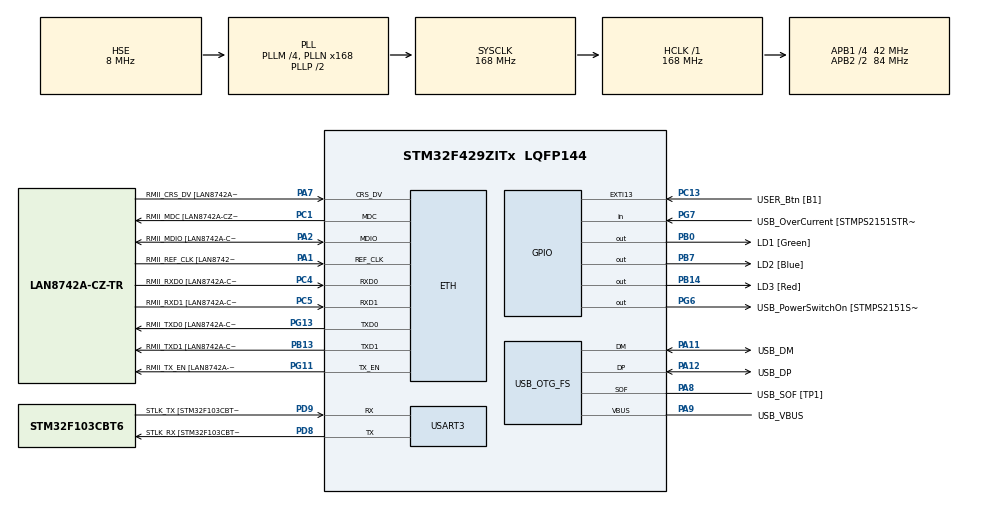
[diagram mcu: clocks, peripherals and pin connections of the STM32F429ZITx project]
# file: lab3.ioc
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Mcu.Family=STM32F4
FREERTOS.Queues01=myQueue01,32,1,1,Dynamic,NULL,NULL
RCC.CortexFreq_Value=168000000
PG6.Signal=GPIO_Output
PB14.GPIO_Label=LD3 [Red]
PG6.GPIO_Label=USB_PowerSwitchOn [STMPS2151STR_EN]
PA14.GPIO_Label=TCK
RCC.SYSCLKSourceVirtual=RCC_SYSCLKSOURCE_PLLCLK
PA11.Mode=Device_Only
PB0.GPIO_Label=LD1 [Green]
PC14/OSC32_IN.Mode=LSE-External-Oscillator
PC5.Mode=RMII
PC13.GPIO_Label=USER_Btn [B1]
PB13.GPIO_Label=RMII_TXD1 [LAN8742A-CZ-TR_TXD1]
PB13.Signal=ETH_TXD1
PG13.Signal=ETH_TXD0
PD9.Mode=Asynchronous
PG11.Signal=ETH_TX_EN
RCC.SYSCLKSource=RCC_SYSCLKSOURCE_PLLCLK
ProjectManager.StackSize=0x400
PA12.Signal=USB_OTG_FS_DP
ETH.PHY_Value=0
PH0/OSC_IN.Mode=HSE-External-Clock-Source
RCC.HCLKFreq_Value=168000000
RCC.APB2TimFreq_Value=168000000
PH1/OSC_OUT.Signal=RCC_OSC_OUT
PD8.Signal=USART3_TX
RCC.AHBFreq_Value=168000000
RCC.HSE_VALUE=8000000
RCC.PLLMUL=RCC_PLL_MUL9
PC4.GPIO_Label=RMII_RXD0 [LAN8742A-CZ-TR_RXD0]
PA14.Mode=Serial_Wire
VP_SYS_VS_tim1.Mode=TIM1
PA10.GPIO_Label=USB_ID
PB7.Signal=GPIO_Output
PA8.Signal=USB_OTG_FS_SOF
PG13.Mode=RMII
ETH.PHY_Name=LAN8742A_PHY_ADDRESS
VP_FREERTOS_VS_CMSIS_V1.Mode=CMSIS_V1
PH1/OSC_OUT.Mode=HSE-External-Clock-Source
PB7.GPIO_Label=LD2 [Blue]
Mcu.Package=LQFP144
NVIC.TimeBase=TIM1_UP_TIM10_IRQn
PC14/OSC32_IN.Signal=RCC_OSC32_IN
PA2.GPIO_Label=RMII_MDIO [LAN8742A-CZ-TR_MDIO]
NVIC.TimeBaseIP=TIM1
PA10.Signal=USB_OTG_FS_ID
USB_OTG_FS.VirtualMode=Device_Only
RCC.APB2CLKDivider=RCC_HCLK_DIV2
RCC.APB1TimFreq_Value=84000000
PG11.GPIO_Label=RMII_TX_EN [LAN8742A-CZ-TR_TXEN]
PC5.Signal=ETH_RXD1
PB13.Mode=RMII
PC4.Mode=RMII
ETH.AutoNegotiation=ETH_AUTONEGOTIATION_DISABLE
FREERTOS.Tasks01=mainTask,2,128,mainTask_f,Default,NULL,Dynamic,NULL,NULL;myTask02,0,128,StartTask02,Default,NULL,Dynamic,NULL,NULL;myTask03,0,128,StartTask03,Default,NULL,Dynamic,NULL,NULL
PA7.Mode=RMII
PG7.Signal=GPIO_Input
PD9.GPIO_Label=STLK_TX [STM32F103CBT6_PA2]
PC13.Signal=GPXTI13
PA9.GPIO_Label=USB_VBUS
PC4.Signal=ETH_RXD0
PA11.GPIO_Label=USB_DM
PD9.Signal=USART3_RX
RCC.APB1CLKDivider=RCC_HCLK_DIV4
PG13.GPIO_Label=RMII_TXD0 [LAN8742A-CZ-TR_TXD0]
ETH.PhyAddress=0
PA12.GPIO_Label=USB_DP
PD8.GPIO_Label=STLK_RX [STM32F103CBT6_PA3]
PA13.Signal=SYS_JTMS-SWDIO
PA9.Mode=Activate_VBUS
PA8.GPIO_Label=USB_SOF [TP1]
ProjectManager.TargetToolchain=STM32CubeIDE
PA9.Signal=USB_OTG_FS_VBUS
RCC.USBFreq_Value=48000000
PD8.Mode=Asynchronous
PA1.Signal=ETH_REF_CLK
PB14.Signal=GPIO_Output
board=NUCLEO-F429ZI
RCC.VCOOutputFreq_Value=336000000
PH0/OSC_IN.Signal=RCC_OSC_IN
RCC.APB2Freq_Value=84000000
PA1.Mode=RMII
RCC.PRESCALERUSB=RCC_USBCLKSOURCE_PLL_DIV1_5
PG7.GPIO_Label=USB_OverCurrent [STMPS2151STR_FAULT]
PA1.GPIO_Label=RMII_REF_CLK [LAN8742A-CZ-TR_REFCLK0]
PC1.GPIO_Label=RMII_MDC [LAN8742A-CZ-TR_MDC]
PA13.Mode=Serial_Wire
Mcu.Name=STM32F429ZITx
PA2.Signal=ETH_MDIO
PA13.GPIO_Label=TMS
RCC.APB2TimCLKDivider=2
RCC.48MHZClocksFreq_Value=48000000
RCC.SYSCLKFreq_VALUE=168000000
ETH.MediaInterface=ETH_MEDIA_INTERFACE_RMII
PA7.GPIO_Label=RMII_CRS_DV [LAN8742A-CZ-TR_CRS_DV]
PA12.Mode=Device_Only
PC5.GPIO_Label=RMII_RXD1 [LAN8742A-CZ-TR_RXD1]
USART3.VirtualMode=VM_ASYNC
PC15/OSC32_OUT.Mode=LSE-External-Oscillator
PG11.Mode=RMII
PA11.Signal=USB_OTG_FS_DM
PA14.Signal=SYS_JTCK-SWCLK
ProjectManager.HeapSize=0x200
NVIC.TIM1_UP_TIM10_IRQn=true\:0\:0\:false\:false\:true\:false\:false\:true
RCC.HSI_VALUE=16000000
PH0/OSC_IN.GPIO_Label=MCO [STM32F103CBT6_PA8]
RCC.PLLQ=7
NVIC.PriorityGroup=NVIC_PRIORITYGROUP_4
RCC.PLLM=4
RCC.PLLN=168
PA2.Mode=RMII
PC15/OSC32_OUT.Signal=RCC_OSC32_OUT
PA8.Mode=Activate_SOF_FS
RCC.APB1Freq_Value=42000000
PB0.Signal=GPIO_Output
PC1.Signal=ETH_MDC
PC1.Mode=RMII
PA7.Signal=ETH_CRS_DV

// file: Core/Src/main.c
/* USER CODE BEGIN Header */
/**
  ******************************************************************************
  * @file           : main.c
  * @brief          : Main program body
  ******************************************************************************
  * @attention
  *
  * <h2><center>&copy; Copyright (c) 2021 STMicroelectronics.
  * All rights reserved.</center></h2>
  *
  * This software component is licensed by ST under BSD 3-Clause license,
  * the "License"; You may not use this file except in compliance with the
  * License. You may obtain a copy of the License at:
  *                        opensource.org/licenses/BSD-3-Clause
  *
  ******************************************************************************
  */
/* USER CODE END Header */
#include "main.h"
#include "cmsis_os.h"

ETH_HandleTypeDef heth;

UART_HandleTypeDef huart3;

PCD_HandleTypeDef hpcd_USB_OTG_FS;

osThreadId mainTaskHandle;
osThreadId myTask02Handle;
osThreadId myTask03Handle;
osMessageQId myQueue01Handle;

void SystemClock_Config(void);
static void MX_GPIO_Init(void);
static void MX_ETH_Init(void);
static void MX_USART3_UART_Init(void);
static void MX_USB_OTG_FS_PCD_Init(void);
void mainTask_f(void const * argument);
void StartTask02(void const * argument);
void StartTask03(void const * argument);

int main(void)
{

  /* MCU Configuration--------------------------------------------------------*/

  /* Reset of all peripherals, Initializes the Flash interface and the Systick. */
  HAL_Init();

  /* Configure the system clock */
  SystemClock_Config();

  /* Initialize all configured peripherals */
  MX_GPIO_Init();
  MX_ETH_Init();
  MX_USART3_UART_Init();
  MX_USB_OTG_FS_PCD_Init();

  /* Create the queue(s) */
  /* definition and creation of myQueue01 */
  osMessageQDef(myQueue01, 32, 1);
  myQueue01Handle = osMessageCreate(osMessageQ(myQueue01), NULL);

  /* Create the thread(s) */
  /* definition and creation of mainTask */
  osThreadDef(mainTask, mainTask_f, osPriorityHigh, 0, 128);
  mainTaskHandle = osThreadCreate(osThread(mainTask), NULL);

  /* definition and creation of myTask02 */
  osThreadDef(myTask02, StartTask02, osPriorityNormal, 0, 128);
  myTask02Handle = osThreadCreate(osThread(myTask02), NULL);

  /* definition and creation of myTask03 */
  osThreadDef(myTask03, StartTask03, osPriorityNormal, 0, 128);
  myTask03Handle = osThreadCreate(osThread(myTask03), NULL);

  /* Start scheduler */
  osKernelStart();

  /* We should never get here as control is now taken by the scheduler */
  /* Infinite loop */
  while (1)
  {

  }
}

void SystemClock_Config(void)
{
  RCC_OscInitTypeDef RCC_OscInitStruct = {0};
  RCC_ClkInitTypeDef RCC_ClkInitStruct = {0};

  /** Configure the main internal regulator output voltage
  */
  __HAL_RCC_PWR_CLK_ENABLE();
  __HAL_PWR_VOLTAGESCALING_CONFIG(PWR_REGULATOR_VOLTAGE_SCALE1);
  /** Initializes the RCC Oscillators according to the specified parameters
  * in the RCC_OscInitTypeDef structure.
  */
  RCC_OscInitStruct.OscillatorType = RCC_OSCILLATORTYPE_HSE;
  RCC_OscInitStruct.HSEState = RCC_HSE_BYPASS;
  RCC_OscInitStruct.PLL.PLLState = RCC_PLL_ON;
  RCC_OscInitStruct.PLL.PLLSource = RCC_PLLSOURCE_HSE;
  RCC_OscInitStruct.PLL.PLLM = 4;
  RCC_OscInitStruct.PLL.PLLN = 168;
  RCC_OscInitStruct.PLL.PLLP = RCC_PLLP_DIV2;
  RCC_OscInitStruct.PLL.PLLQ = 7;
  if (HAL_RCC_OscConfig(&RCC_OscInitStruct) != HAL_OK)
  {
    Error_Handler();
  }
  /** Initializes the CPU, AHB and APB buses clocks
  */
  RCC_ClkInitStruct.ClockType = RCC_CLOCKTYPE_HCLK|RCC_CLOCKTYPE_SYSCLK
                              |RCC_CLOCKTYPE_PCLK1|RCC_CLOCKTYPE_PCLK2;
  RCC_ClkInitStruct.SYSCLKSource = RCC_SYSCLKSOURCE_PLLCLK;
  RCC_ClkInitStruct.AHBCLKDivider = RCC_SYSCLK_DIV1;
  RCC_ClkInitStruct.APB1CLKDivider = RCC_HCLK_DIV4;
  RCC_ClkInitStruct.APB2CLKDivider = RCC_HCLK_DIV2;

  if (HAL_RCC_ClockConfig(&RCC_ClkInitStruct, FLASH_LATENCY_5) != HAL_OK)
  {
    Error_Handler();
  }
}

static void MX_ETH_Init(void)
{

  heth.Instance = ETH;
  heth.Init.AutoNegotiation = ETH_AUTONEGOTIATION_DISABLE;
  heth.Init.Speed = ETH_SPEED_100M;
  heth.Init.DuplexMode = ETH_MODE_FULLDUPLEX;
  heth.Init.PhyAddress = LAN8742A_PHY_ADDRESS;
  heth.Init.MACAddr[0] =   0x00;
  heth.Init.MACAddr[1] =   0x80;
  heth.Init.MACAddr[2] =   0xE1;
  heth.Init.MACAddr[3] =   0x00;
  heth.Init.MACAddr[4] =   0x00;
  heth.Init.MACAddr[5] =   0x00;
  heth.Init.RxMode = ETH_RXPOLLING_MODE;
  heth.Init.ChecksumMode = ETH_CHECKSUM_BY_HARDWARE;
  heth.Init.MediaInterface = ETH_MEDIA_INTERFACE_RMII;

  if (HAL_ETH_Init(&heth) != HAL_OK)
  {
    Error_Handler();
  }

}

static void MX_USART3_UART_Init(void)
{

  huart3.Instance = USART3;
  huart3.Init.BaudRate = 115200;
  huart3.Init.WordLength = UART_WORDLENGTH_8B;
  huart3.Init.StopBits = UART_STOPBITS_1;
  huart3.Init.Parity = UART_PARITY_NONE;
  huart3.Init.Mode = UART_MODE_TX_RX;
  huart3.Init.HwFlowCtl = UART_HWCONTROL_NONE;
  huart3.Init.OverSampling = UART_OVERSAMPLING_16;
  if (HAL_UART_Init(&huart3) != HAL_OK)
  {
    Error_Handler();
  }

}

static void MX_USB_OTG_FS_PCD_Init(void)
{

  hpcd_USB_OTG_FS.Instance = USB_OTG_FS;
  hpcd_USB_OTG_FS.Init.dev_endpoints = 4;
  hpcd_USB_OTG_FS.Init.speed = PCD_SPEED_FULL;
  hpcd_USB_OTG_FS.Init.dma_enable = DISABLE;
  hpcd_USB_OTG_FS.Init.phy_itface = PCD_PHY_EMBEDDED;
  hpcd_USB_OTG_FS.Init.Sof_enable = ENABLE;
  hpcd_USB_OTG_FS.Init.low_power_enable = DISABLE;
  hpcd_USB_OTG_FS.Init.lpm_enable = DISABLE;
  hpcd_USB_OTG_FS.Init.vbus_sensing_enable = ENABLE;
  hpcd_USB_OTG_FS.Init.use_dedicated_ep1 = DISABLE;
  if (HAL_PCD_Init(&hpcd_USB_OTG_FS) != HAL_OK)
  {
    Error_Handler();
  }

}

static void MX_GPIO_Init(void)
{
  GPIO_InitTypeDef GPIO_InitStruct = {0};

  /* GPIO Ports Clock Enable */
  __HAL_RCC_GPIOC_CLK_ENABLE();
  __HAL_RCC_GPIOH_CLK_ENABLE();
  __HAL_RCC_GPIOA_CLK_ENABLE();
  __HAL_RCC_GPIOB_CLK_ENABLE();
  __HAL_RCC_GPIOD_CLK_ENABLE();
  __HAL_RCC_GPIOG_CLK_ENABLE();

  /*Configure GPIO pin Output Level */
  HAL_GPIO_WritePin(GPIOB, LD1_Pin|LD3_Pin|LD2_Pin, GPIO_PIN_RESET);

  /*Configure GPIO pin Output Level */
  HAL_GPIO_WritePin(USB_PowerSwitchOn_GPIO_Port, USB_PowerSwitchOn_Pin, GPIO_PIN_RESET);

  /*Configure GPIO pin : USER_Btn_Pin */
  GPIO_InitStruct.Pin = USER_Btn_Pin;
  GPIO_InitStruct.Mode = GPIO_MODE_IT_RISING;
  GPIO_InitStruct.Pull = GPIO_NOPULL;
  HAL_GPIO_Init(USER_Btn_GPIO_Port, &GPIO_InitStruct);

  /*Configure GPIO pins : LD1_Pin LD3_Pin LD2_Pin */
  GPIO_InitStruct.Pin = LD1_Pin|LD3_Pin|LD2_Pin;
  GPIO_InitStruct.Mode = GPIO_MODE_OUTPUT_PP;
  GPIO_InitStruct.Pull = GPIO_NOPULL;
  GPIO_InitStruct.Speed = GPIO_SPEED_FREQ_LOW;
  HAL_GPIO_Init(GPIOB, &GPIO_InitStruct);

  /*Configure GPIO pin : USB_PowerSwitchOn_Pin */
  GPIO_InitStruct.Pin = USB_PowerSwitchOn_Pin;
  GPIO_InitStruct.Mode = GPIO_MODE_OUTPUT_PP;
  GPIO_InitStruct.Pull = GPIO_NOPULL;
  GPIO_InitStruct.Speed = GPIO_SPEED_FREQ_LOW;
  HAL_GPIO_Init(USB_PowerSwitchOn_GPIO_Port, &GPIO_InitStruct);

  /*Configure GPIO pin : USB_OverCurrent_Pin */
  GPIO_InitStruct.Pin = USB_OverCurrent_Pin;
  GPIO_InitStruct.Mode = GPIO_MODE_INPUT;
  GPIO_InitStruct.Pull = GPIO_NOPULL;
  HAL_GPIO_Init(USB_OverCurrent_GPIO_Port, &GPIO_InitStruct);

}

void mainTask_f(void const * argument)
{
  /* USER CODE BEGIN 5 */
  /* Infinite loop */
	int count_g = 0;
	int count_r = 0;
  for(;;)
  {

	  char buf = 0;
	  osEvent event = osMessageGet(myQueue01Handle,osWaitForever);
	  if(event.status == osEventMessage){
		  buf = (char) event.value.v;
		  if(buf == 'g'){
			  if(count_g %4 ==0 || count_g %4 ==1){
				  HAL_GPIO_TogglePin(GPIOB,GPIO_PIN_0);
				  HAL_Delay(500);
				  HAL_GPIO_TogglePin(GPIOB,GPIO_PIN_0);
				  HAL_Delay(500);
			  }
			  else if(count_g %4 == 2 || count_g %4 == 3){
				  HAL_GPIO_TogglePin(GPIOB,GPIO_PIN_0);
				  HAL_Delay(500);
				  HAL_GPIO_TogglePin(GPIOB,GPIO_PIN_0);
				  HAL_Delay(500);

				  HAL_GPIO_TogglePin(GPIOB,GPIO_PIN_0);
				  HAL_Delay(500);
				  HAL_GPIO_TogglePin(GPIOB,GPIO_PIN_0);
				  HAL_Delay(500);

				 HAL_GPIO_TogglePin(GPIOB,GPIO_PIN_0);
				  HAL_Delay(500);
				  HAL_GPIO_TogglePin(GPIOB,GPIO_PIN_0);
				  HAL_Delay(500);
			  }
			  count_g++;
		  }else if(buf == 'r'){
			  if(count_r %3 ==0){
				  HAL_GPIO_TogglePin(GPIOB,GPIO_PIN_14);
				  HAL_Delay(500);
				  HAL_GPIO_TogglePin(GPIOB,GPIO_PIN_14);
				  HAL_Delay(500);

				  HAL_GPIO_TogglePin(GPIOB,GPIO_PIN_14);
				  HAL_Delay(500);
				  HAL_GPIO_TogglePin(GPIOB,GPIO_PIN_14);
				  HAL_Delay(500);

				HAL_GPIO_TogglePin(GPIOB,GPIO_PIN_14);
				  HAL_Delay(500);
				  HAL_GPIO_TogglePin(GPIOB,GPIO_PIN_14);
				  HAL_Delay(500);
			  }else if(count_r %3 == 1){
				  HAL_GPIO_TogglePin(GPIOB,GPIO_PIN_14);
				  HAL_Delay(500);
				  HAL_GPIO_TogglePin(GPIOB,GPIO_PIN_14);
				  HAL_Delay(500);

				  HAL_GPIO_TogglePin(GPIOB,GPIO_PIN_14);
				  HAL_Delay(500);
				  HAL_GPIO_TogglePin(GPIOB,GPIO_PIN_14);
				  HAL_Delay(500);
			  }else{
				  HAL_GPIO_TogglePin(GPIOB,GPIO_PIN_14);
				  HAL_Delay(500);
				  HAL_GPIO_TogglePin(GPIOB,GPIO_PIN_14);
				  HAL_Delay(500);

				  HAL_GPIO_TogglePin(GPIOB,GPIO_PIN_14);
				  HAL_Delay(500);
				  HAL_GPIO_TogglePin(GPIOB,GPIO_PIN_14);
				  HAL_Delay(500);

				  HAL_GPIO_TogglePin(GPIOB,GPIO_PIN_14);
				  HAL_Delay(500);
				  HAL_GPIO_TogglePin(GPIOB,GPIO_PIN_14);
				  HAL_Delay(500);
			  }
			  count_r++;
		  }
	  }
  }
  /* USER CODE END 5 */
}

void StartTask02(void const * argument)
{
  /* USER CODE BEGIN StartTask02 */
  /* Infinite loop */

  for(;;)
  {
	  char msg = 'g';
	  osMessagePut(myQueue01Handle,msg,osWaitForever);

  }
  /* USER CODE END StartTask02 */
}

void StartTask03(void const * argument)
{
  /* USER CODE BEGIN StartTask03 */
  /* Infinite loop */
  for(;;)
  {
	  char msg = 'r';
	  osMessagePut(myQueue01Handle,msg,osWaitForever);
  }
  /* USER CODE END StartTask03 */
}

 /**
  * @brief  Period elapsed callback in non blocking mode
  * @note   This function is called  when TIM1 interrupt took place, inside
  * HAL_TIM_IRQHandler(). It makes a direct call to HAL_IncTick() to increment
  * a global variable "uwTick" used as application time base.
  * @param  htim : TIM handle
  * @retval None
  */
void HAL_TIM_PeriodElapsedCallback(TIM_HandleTypeDef *htim)
{
  if (htim->Instance == TIM1) {
    HAL_IncTick();
  }
}

void Error_Handler(void)
{
  __disable_irq();
  while (1)
  {
  }
}

/************************ (C) COPYRIGHT STMicroelectronics *****END OF FILE****/
